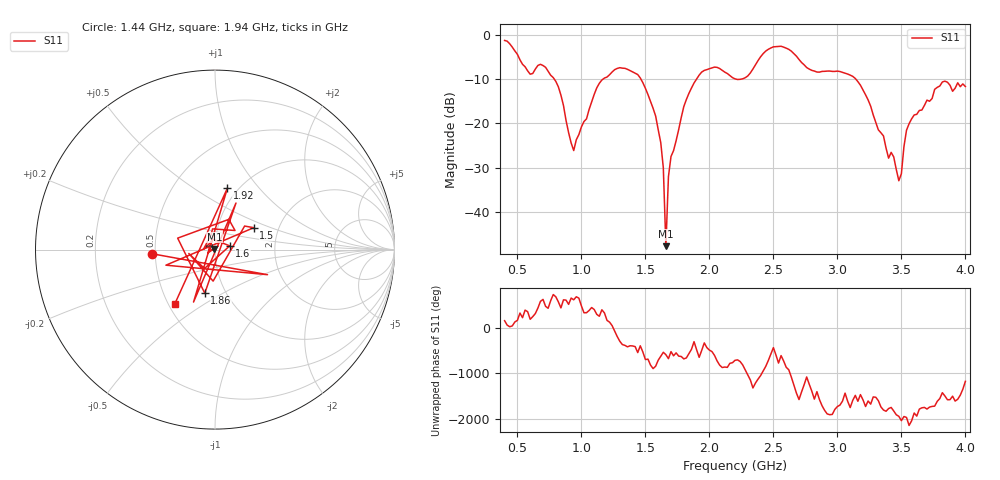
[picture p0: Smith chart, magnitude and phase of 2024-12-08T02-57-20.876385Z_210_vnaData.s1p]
!Created with skrf (http://scikit-rf.org).
# Hz S RI R 50.0
!freq ReS11 ImS11
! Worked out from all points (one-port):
!   181 points, 400 MHz to 4 GHz, reference 50 ohm
!   lowest |S11| = -47.7 dB at 1.66 GHz (marker M1), VSWR 1.01, Z = 49.7 + j0.28 ohm
!   |S11| at or under -10 dB: 787.1 MHz to 1.171 GHz (384 MHz wide, 39.2 % of centre); 1.464 GHz to 1.9 GHz (436.1 MHz wide, 25.9 % of centre); 3.143 GHz to end of sweep (the widest 3 of 4)
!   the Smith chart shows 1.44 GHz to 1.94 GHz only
!   S11 on the Smith chart (normalised r, x): 1.44 GHz: 0.48, -0.02; 1.5 GHz: 1.49, +0.39; 1.6 GHz: 1.18, +0.05; 1.86 GHz: 0.80, -0.41; 1.92 GHz: 0.89, +0.70; 1.94 GHz: 0.54, -0.38
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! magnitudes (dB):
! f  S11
! 400 MHz  -1.3
! 600 MHz  -8.9
! 720 MHz  -7.4
! 860 MHz  -16.0
! 940 MHz  -26.1
! 1.12 GHz  -12.0
! 1.3 GHz  -7.5
! 1.44 GHz  -9.0
! 1.5 GHz  -12.1
! 1.6 GHz  -21.4
! 1.64 GHz  -30.0
! 1.66 GHz  -47.7
! 1.68 GHz  -32.0
! 1.76 GHz  -21.4
! 1.86 GHz  -12.1
! 1.92 GHz  -9.1
! 1.94 GHz  -8.5
! 2.2 GHz  -10.0
! 2.5 GHz  -2.8
! 2.66 GHz  -4.3
! 3.1 GHz  -9.1
! 3.24 GHz  -14.7
! 3.4 GHz  -27.9
! 3.44 GHz  -27.6
! 3.48 GHz  -33.0
! 3.56 GHz  -20.1
! 3.82 GHz  -10.7
! 4 GHz  -11.7
